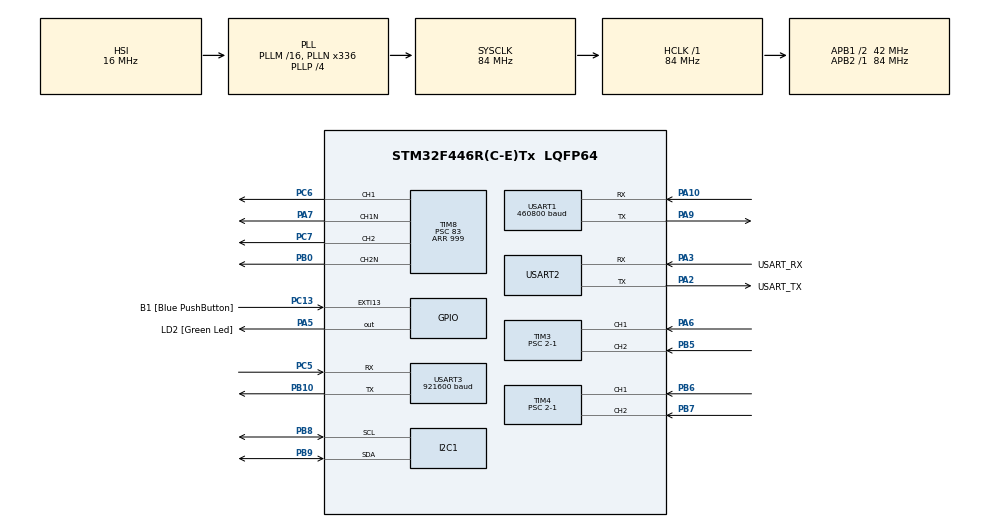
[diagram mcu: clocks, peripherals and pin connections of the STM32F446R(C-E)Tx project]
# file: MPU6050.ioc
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Dma.Request0=USART3_RX
Dma.Request1=USART3_TX
Dma.Request2=USART1_TX
Dma.Request3=USART1_RX
Dma.USART1_RX.3.Direction=DMA_PERIPH_TO_MEMORY
Dma.USART1_RX.3.FIFOMode=DMA_FIFOMODE_DISABLE
Dma.USART1_RX.3.Instance=DMA2_Stream2
Dma.USART1_RX.3.MemDataAlignment=DMA_MDATAALIGN_BYTE
Dma.USART1_RX.3.MemInc=DMA_MINC_ENABLE
Dma.USART1_RX.3.Mode=DMA_NORMAL
Dma.USART1_RX.3.PeriphDataAlignment=DMA_PDATAALIGN_BYTE
Dma.USART1_RX.3.PeriphInc=DMA_PINC_DISABLE
Dma.USART1_RX.3.Priority=DMA_PRIORITY_LOW
Dma.USART1_TX.2.Direction=DMA_MEMORY_TO_PERIPH
Dma.USART1_TX.2.FIFOMode=DMA_FIFOMODE_DISABLE
Dma.USART1_TX.2.Instance=DMA2_Stream7
Dma.USART1_TX.2.MemDataAlignment=DMA_MDATAALIGN_BYTE
Dma.USART1_TX.2.MemInc=DMA_MINC_ENABLE
Dma.USART1_TX.2.Mode=DMA_NORMAL
Dma.USART1_TX.2.PeriphDataAlignment=DMA_PDATAALIGN_BYTE
Dma.USART1_TX.2.PeriphInc=DMA_PINC_DISABLE
Dma.USART1_TX.2.Priority=DMA_PRIORITY_LOW
Dma.USART3_RX.0.Direction=DMA_PERIPH_TO_MEMORY
Dma.USART3_RX.0.FIFOMode=DMA_FIFOMODE_DISABLE
Dma.USART3_RX.0.Instance=DMA1_Stream1
Dma.USART3_RX.0.MemDataAlignment=DMA_MDATAALIGN_BYTE
Dma.USART3_RX.0.MemInc=DMA_MINC_ENABLE
Dma.USART3_RX.0.Mode=DMA_NORMAL
Dma.USART3_RX.0.PeriphDataAlignment=DMA_PDATAALIGN_BYTE
Dma.USART3_RX.0.PeriphInc=DMA_PINC_DISABLE
Dma.USART3_RX.0.Priority=DMA_PRIORITY_LOW
Dma.USART3_TX.1.Direction=DMA_MEMORY_TO_PERIPH
Dma.USART3_TX.1.FIFOMode=DMA_FIFOMODE_DISABLE
Dma.USART3_TX.1.Instance=DMA1_Stream3
Dma.USART3_TX.1.MemDataAlignment=DMA_MDATAALIGN_BYTE
Dma.USART3_TX.1.MemInc=DMA_MINC_ENABLE
Dma.USART3_TX.1.Mode=DMA_NORMAL
Dma.USART3_TX.1.PeriphDataAlignment=DMA_PDATAALIGN_BYTE
Dma.USART3_TX.1.PeriphInc=DMA_PINC_DISABLE
Dma.USART3_TX.1.Priority=DMA_PRIORITY_LOW
I2C1.I2C_Mode=I2C_Fast
Mcu.Family=STM32F4
Mcu.Name=STM32F446R(C-E)Tx
Mcu.Package=LQFP64
NVIC.DMA1_Stream1_IRQn=true\:0\:0\:false\:false\:true\:false\:true\:true
NVIC.DMA1_Stream3_IRQn=true\:0\:0\:false\:false\:true\:false\:true\:true
NVIC.DMA2_Stream2_IRQn=true\:0\:0\:false\:false\:true\:false\:true\:true
NVIC.DMA2_Stream7_IRQn=true\:0\:0\:false\:false\:true\:false\:true\:true
NVIC.PriorityGroup=NVIC_PRIORITYGROUP_0
NVIC.TIM6_DAC_IRQn=true\:0\:0\:false\:false\:true\:true\:true\:true
NVIC.USART1_IRQn=true\:0\:0\:false\:false\:true\:true\:true\:true
NVIC.USART3_IRQn=true\:0\:0\:false\:false\:true\:true\:true\:true
PA10.Mode=Asynchronous
PA10.Signal=USART1_RX
PA13.GPIO_Label=TMS
PA13.Mode=Serial_Wire
PA13.Signal=SYS_JTMS-SWDIO
PA14.GPIO_Label=TCK
PA14.Mode=Serial_Wire
PA14.Signal=SYS_JTCK-SWCLK
PA2.GPIO_Label=USART_TX
PA2.Mode=Asynchronous
PA2.Signal=USART2_TX
PA3.GPIO_Label=USART_RX
PA3.Mode=Asynchronous
PA3.Signal=USART2_RX
PA5.GPIO_Label=LD2 [Green Led]
PA5.Signal=GPIO_Output
PA6.Signal=S_TIM3_CH1
PA7.Mode=PWM Generation1 CH1 CH1N
PA7.Signal=TIM8_CH1N
PA9.Mode=Asynchronous
PA9.Signal=USART1_TX
PB0.Mode=PWM Generation2 CH2 CH2N
PB0.Signal=TIM8_CH2N
PB10.Mode=Asynchronous
PB10.Signal=USART3_TX
PB3.GPIO_Label=SWO
PB3.Signal=SYS_JTDO-SWO
PB5.Signal=S_TIM3_CH2
PB6.Signal=S_TIM4_CH1
PB7.Signal=S_TIM4_CH2
PB8.Mode=I2C
PB8.Signal=I2C1_SCL
PB9.Mode=I2C
PB9.Signal=I2C1_SDA
PC13.GPIO_Label=B1 [Blue PushButton]
PC13.GPIO_ModeDefaultEXTI=GPIO_MODE_IT_FALLING
PC13.Signal=GPXTI13
PC14-OSC32_IN.Mode=LSE-External-Oscillator
PC14-OSC32_IN.Signal=RCC_OSC32_IN
PC15-OSC32_OUT.Mode=LSE-External-Oscillator
PC15-OSC32_OUT.Signal=RCC_OSC32_OUT
PC5.Mode=Asynchronous
PC5.Signal=USART3_RX
PC6.Signal=S_TIM8_CH1
PC7.Signal=S_TIM8_CH2
PH0-OSC_IN.Mode=HSE-External-Oscillator
PH0-OSC_IN.Signal=RCC_OSC_IN
PH1-OSC_OUT.Mode=HSE-External-Oscillator
PH1-OSC_OUT.Signal=RCC_OSC_OUT
ProjectManager.HeapSize=0x200
ProjectManager.StackSize=0x400
ProjectManager.TargetToolchain=MDK-ARM V5.32
RCC.48MHZClocksFreq_Value=84000000
RCC.AHBFreq_Value=84000000
RCC.APB1CLKDivider=RCC_HCLK_DIV2
RCC.APB1Freq_Value=42000000
RCC.APB1TimFreq_Value=84000000
RCC.APB2Freq_Value=84000000
RCC.APB2TimFreq_Value=84000000
RCC.CortexFreq_Value=84000000
RCC.FLatency-AdvancedSettings=FLASH_LATENCY_2
RCC.HCLKFreq_Value=84000000
RCC.HSE_VALUE=8000000
RCC.HSI_VALUE=16000000
RCC.PLLN=336
RCC.PLLP=RCC_PLLP_DIV4
RCC.SYSCLKFreq_VALUE=84000000
RCC.SYSCLKSource=RCC_SYSCLKSOURCE_PLLCLK
RCC.USBFreq_Value=168000000
RCC.VCOOutputFreq_Value=336000000
SH.S_TIM3_CH1.0=TIM3_CH1,Encoder_Interface
SH.S_TIM3_CH2.0=TIM3_CH2,Encoder_Interface
SH.S_TIM4_CH1.0=TIM4_CH1,Encoder_Interface
SH.S_TIM4_CH2.0=TIM4_CH2,Encoder_Interface
SH.S_TIM8_CH1.0=TIM8_CH1,PWM Generation1 CH1 CH1N
SH.S_TIM8_CH2.0=TIM8_CH2,PWM Generation2 CH2 CH2N
TIM3.EncoderMode=TIM_ENCODERMODE_TI12
TIM3.IC1Filter=10
TIM3.Prescaler=2-1
TIM4.EncoderMode=TIM_ENCODERMODE_TI12
TIM4.IC1Filter=10
TIM4.IC2Filter=10
TIM4.Prescaler=2-1
TIM6.Period=9999
TIM6.Prescaler=41
TIM8.AutoReloadPreload=TIM_AUTORELOAD_PRELOAD_ENABLE
TIM8.Channel-PWM\ Generation1\ CH1\ CH1N=TIM_CHANNEL_1
TIM8.Channel-PWM\ Generation2\ CH2\ CH2N=TIM_CHANNEL_2
TIM8.OC1Preload_PWM=DISABLE
TIM8.OCFastMode_PWM-PWM\ Generation2\ CH2\ CH2N=TIM_OCFAST_ENABLE
TIM8.OCMode_PWM-PWM\ Generation1\ CH1\ CH1N=TIM_OCMODE_PWM2
TIM8.OCMode_PWM-PWM\ Generation2\ CH2\ CH2N=TIM_OCMODE_PWM2
TIM8.OCNPolarity_1=TIM_OCNPOLARITY_LOW
TIM8.OCNPolarity_2=TIM_OCNPOLARITY_LOW
TIM8.OCPolarity_1=TIM_OCPOLARITY_LOW
TIM8.OCPolarity_2=TIM_OCPOLARITY_LOW
TIM8.Period=999
TIM8.Prescaler=83
USART1.BaudRate=460800
USART1.VirtualMode=VM_ASYNC
USART2.VirtualMode=VM_ASYNC
USART3.BaudRate=921600
USART3.VirtualMode=VM_ASYNC
VP_TIM6_VS_ClockSourceINT.Mode=Enable_Timer
VP_TIM8_VS_ClockSourceINT.Mode=Internal
board=NUCLEO-F446RE

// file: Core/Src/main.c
/* USER CODE BEGIN Header */
/**
  ******************************************************************************
  * @file           : main.c
  * @brief          : Main program body
  ******************************************************************************
  * @attention
  *
  * Copyright (c) 2025 STMicroelectronics.
  * All rights reserved.
  *
  * This software is licensed under terms that can be found in the LICENSE file
  * in the root directory of this software component.
  * If no LICENSE file comes with this software, it is provided AS-IS.
  *
  ******************************************************************************
  */
/* USER CODE END Header */
#include "main.h"
#include "dma.h"
#include "i2c.h"
#include "tim.h"
#include "usart.h"
#include "gpio.h"

/* USER CODE BEGIN Includes */

#include "MPU6050.h"
#include "stdio.h"
#include "PeropheralInit.h"
#include "Motor.h"
#include "math.h"
#include "AutoCar.h"
#include "string.h"
#include "BT.h"

/* USER CODE END Includes */

/* USER CODE BEGIN PD */
int res;
float pitch;
float roll;
float yaw;
uint8_t timeflag;

MotorInfo motorDataRight;
MotorInfo motorDataLeft;
AutoCarInfo autoCar;
imuInfo imu;
float_to_hex yaw_F2H;
float_to_hex x_F2H;
float_to_hex y_F2H;
float btYawF2H;
float yawOdometry;
float distance_vector;
float btSpeedRight;
float btSpeedLeft;
float x_vector;
float y_vector;
uint8_t sdBuffer[16];

uint8_t receiveData[128];
uint8_t receiveDataDMAbuffer[128];
uint8_t sendDataDMA[128];
uint8_t laserRowData_frame[88];
uint8_t laserRowData_buffer[84];
uint8_t laserTxInitial[9];
int signDMA = 1;
int signLaser = 0;

extern DMA_HandleTypeDef hdma_usart3_rx;
extern DMA_HandleTypeDef hdma_usart3_tx;
extern DMA_HandleTypeDef hdma_usart1_rx;
extern DMA_HandleTypeDef hdma_usart1_tx;

/* USER CODE END PD */

void SystemClock_Config(void);

/* USER CODE BEGIN 0 */

//DMA发送中断响应函数

void HAL_UART_TxCpltCallback(UART_HandleTypeDef *huart)
{

	signDMA = 1;

}

double BT_yaw=0.0;
double BT_rmv=0.0;
double BT_lwv=0.0;

void HAL_UARTEx_RxEventCallback(UART_HandleTypeDef *huart, uint16_t Size){

	if(huart==&huart3){

		for(int i=0;i<sizeof(receiveData);i++){
			sendDataDMA[i]=receiveData[i];
		}

//		if(signDMA == 1){
//			signDMA = 0;
//			//回发接收内容9
//			HAL_UART_Transmit_DMA(&huart3,sendDataDMA,Size);
//		}

		//解析接收数据
		 sscanf((const char *)receiveData, "%lf %lf %lf", &BT_yaw, &BT_rmv, &BT_lwv);

		//清空接收缓冲区
		for(int i=0;i<sizeof(receiveData);i++){

			receiveData[i]=0x00;

		}

		//重新打开DMA接收
			HAL_UARTEx_ReceiveToIdle_DMA(&huart3,receiveData,sizeof(receiveData));
		//关闭DMA半中断响应
		__HAL_DMA_DISABLE_IT(&hdma_usart3_rx,DMA_IT_HT);

	}

		//串口1接收中断
	else if(huart==&huart1){

		//assign the laser frame
		for(int i=0;i<Size;i++){

		laserRowData_frame[i+4]=laserRowData_buffer[i];

		}

		signLaser = 1;

		//重新打开串口1DMA接收
		HAL_UARTEx_ReceiveToIdle_DMA(&huart1,laserRowData_buffer,sizeof(laserRowData_buffer));
		__HAL_UART_ENABLE_IT(&huart1, UART_IT_IDLE);  // 开启空闲中断
		__HAL_DMA_DISABLE_IT(&hdma_usart1_rx,DMA_IT_HT);

	}

}

/* USER CODE END 0 */

int main(void)
{

  /* MCU Configuration--------------------------------------------------------*/

  /* Reset of all peripherals, Initializes the Flash interface and the Systick. */
  HAL_Init();

  /* Configure the system clock */
  SystemClock_Config();

  /* Initialize all configured peripherals */
  MX_GPIO_Init();
  MX_DMA_Init();
  MX_USART2_UART_Init();
  MX_I2C1_Init();
  MX_USART1_UART_Init();
  MX_TIM8_Init();
  MX_TIM3_Init();
  MX_TIM6_Init();
  MX_TIM4_Init();
  MX_USART3_UART_Init();
  /* USER CODE BEGIN 2 */

	//Wait for the Electricity
	HAL_Delay(200);

	//显示初始化发送缓冲区，以防止有奇怪的内容（会影响DMA发送）

		for(int i=0;i<sizeof(sendDataDMA);i++){

			sendDataDMA[i]=0x00;

		}

		for(int i=0;i<sizeof(receiveData);i++){

			receiveData[i]=0x00;

		}

		for(int i=0;i<sizeof(laserRowData_frame);i++){

			laserRowData_frame[i]=0x00;

		}

		for(int i=0;i<sizeof(laserRowData_buffer);i++){

			laserRowData_buffer[i]=0x00;

		}

		laserRowData_frame[0]=0xFF;
		laserRowData_frame[1]=0xFF;
		laserRowData_frame[2]=0xFF;
		laserRowData_frame[3]=0x54;//负载长

		laserTxInitial[0] = 0xA5;  //帧头
		laserTxInitial[1] = 0x82;  //启动扫描命令
		laserTxInitial[2] = 05;
		laserTxInitial[3] = 0;
		laserTxInitial[4] = 0;
		laserTxInitial[5] = 0;
		laserTxInitial[6] = 0;
		laserTxInitial[7] = 0;
		laserTxInitial[8] = 0x22;

		HAL_UART_Transmit_DMA(&huart1,laserTxInitial,sizeof(laserTxInitial));
		__HAL_DMA_DISABLE_IT(&hdma_usart1_tx, DMA_IT_HT);

		HAL_UARTEx_ReceiveToIdle_DMA(&huart1,laserRowData_buffer,sizeof(laserRowData_buffer));
		__HAL_UART_ENABLE_IT(&huart1, UART_IT_IDLE);  // 开启空闲中断
		__HAL_DMA_DISABLE_IT(&hdma_usart1_rx,DMA_IT_HT);

	//打开DMA接收
		HAL_UARTEx_ReceiveToIdle_DMA(&huart3,receiveData,sizeof(receiveData));
	//关闭DMA接收半中断响应
	__HAL_DMA_DISABLE_IT(&hdma_usart3_rx,DMA_IT_HT);

	// Initial peripheral
	peripheral_Initial();

	HAL_Delay(5000);

	// Initial PID
	PID_Angle_init(&autoCar);
	PID_init(&motorDataRight);
	PID_init(&motorDataLeft);

  /* USER CODE END 2 */

  /* Infinite loop */
  /* USER CODE BEGIN WHILE */
  while (1)
  {

		if(signDMA==1){
			// do NOT comment this loop, it will assign the imu
			if (MPU6050_DMP_Get_Data(&pitch, &roll, &yaw))
			{
				imu.ipitch=pitch;
				imu.iyaw=yaw;
				imu.iroll=roll;

			}
		}

		if(signDMA == 1&&signLaser==1){
			signDMA = 0;
			signLaser = 0;
			//send laser frame 4B+5B*8
			HAL_UART_Transmit_DMA(&huart3,laserRowData_frame,sizeof(laserRowData_frame));
			__HAL_DMA_DISABLE_IT(&hdma_usart3_tx, DMA_IT_HT);

		}

		//every 50ms do this loop------TIM6
		if(timeflag > 4)
		{

			//setYawTarget(&autoCar,BT_yaw , BT_rmv ,BT_lwv);  // 小车对象，预设yaw角，右轮参考速度，左轮参考速度
			//PID_Angle_loop(&autoCar);

			setTargetSpeed_perMin(&motorDataRight,BT_rmv);
			PID_loop(&motorDataRight);
			setTargetSpeed_perMin(&motorDataLeft,BT_lwv);
			PID_loop(&motorDataLeft);

			// The assigned of the btSpeedRight and btSpeedLeft is in the function setYawCurrent

//			float avgTwoWheelSpeed =((float) btSpeedRight+(float)btSpeedLeft)/2.0f;
//
//			distance_vector = avgTwoWheelSpeed*50.0f*6.5f*3.1415926f /(60.0f*1000.0f*1.0f);
//
//			x_vector = x_vector + distance_vector * (-sin(yawOdometry));
//
//			y_vector = y_vector + distance_vector * cos(yawOdometry);

//			if(signDMA == 1){
//
//				// The assigned of the btYawF2H is in the function setYawCurrent
//				set_float_value(&yaw_F2H,btYawF2H);
//
//				sdBuffer[0]=0xFF; //帧头
//				sdBuffer[1]=0xFF; //帧头
//				sdBuffer[2]=0xFF;	//帧头
//				sdBuffer[3]=0x0C; //负载长
//				sdBuffer[4]=yaw_F2H.BT_float[0];
//				sdBuffer[5]=yaw_F2H.BT_float[1];
//				sdBuffer[6]=yaw_F2H.BT_float[2];
//				sdBuffer[7]=yaw_F2H.BT_float[3];
//
//
//
//				set_float_value(&x_F2H,x_vector);
//
//				set_float_value(&y_F2H,y_vector);
//
//				sdBuffer[8]=x_F2H.BT_float[0];
//				sdBuffer[9]=x_F2H.BT_float[1];
//				sdBuffer[10]=x_F2H.BT_float[2];
//				sdBuffer[11]=x_F2H.BT_float[3];
//
//				sdBuffer[12]=y_F2H.BT_float[0];
//				sdBuffer[13]=y_F2H.BT_float[1];
//				sdBuffer[14]=y_F2H.BT_float[2];
//				sdBuffer[15]=y_F2H.BT_float[3];
//
//

//
//				signDMA = 0;

//				HAL_UART_Transmit_DMA(&huart3, sdBuffer, 16);
//					//关闭DMA接收半中断响应
//				__HAL_DMA_DISABLE_IT(&hdma_usart3_tx,DMA_IT_HT);
//
//
//			}

			//EMERGENCY STOP

//			if(fabs(motorDataRight.motorSpeed)>250.0||fabs(motorDataLeft.motorSpeed)>250.0){

//
//						__HAL_TIM_SET_COMPARE(&htim8, TIM_CHANNEL_1, 500);
//						__HAL_TIM_SET_COMPARE(&htim8, TIM_CHANNEL_2, 500);
//
//				while(1){
//
//							if(signDMA == 1){
//								uint8_t sdBuffer[4];
//
//								for(int i=0;i<sizeof(sdBuffer);i++){
//
//									sdBuffer[i] = 0xFF;
//								}

//								signDMA = 0;

//								HAL_UART_Transmit_DMA(&huart3, sdBuffer, sizeof(sdBuffer));
//						}
//
//				}

//			}

		  timeflag = 0x00;

		}

    /* USER CODE END WHILE */

  }
}

void SystemClock_Config(void)
{
  RCC_OscInitTypeDef RCC_OscInitStruct = {0};
  RCC_ClkInitTypeDef RCC_ClkInitStruct = {0};

  /** Configure the main internal regulator output voltage
  */
  __HAL_RCC_PWR_CLK_ENABLE();
  __HAL_PWR_VOLTAGESCALING_CONFIG(PWR_REGULATOR_VOLTAGE_SCALE3);

  /** Initializes the RCC Oscillators according to the specified parameters
  * in the RCC_OscInitTypeDef structure.
  */
  RCC_OscInitStruct.OscillatorType = RCC_OSCILLATORTYPE_HSI;
  RCC_OscInitStruct.HSIState = RCC_HSI_ON;
  RCC_OscInitStruct.HSICalibrationValue = RCC_HSICALIBRATION_DEFAULT;
  RCC_OscInitStruct.PLL.PLLState = RCC_PLL_ON;
  RCC_OscInitStruct.PLL.PLLSource = RCC_PLLSOURCE_HSI;
  RCC_OscInitStruct.PLL.PLLM = 16;
  RCC_OscInitStruct.PLL.PLLN = 336;
  RCC_OscInitStruct.PLL.PLLP = RCC_PLLP_DIV4;
  RCC_OscInitStruct.PLL.PLLQ = 2;
  RCC_OscInitStruct.PLL.PLLR = 2;
  if (HAL_RCC_OscConfig(&RCC_OscInitStruct) != HAL_OK)
  {
    Error_Handler();
  }

  /** Initializes the CPU, AHB and APB buses clocks
  */
  RCC_ClkInitStruct.ClockType = RCC_CLOCKTYPE_HCLK|RCC_CLOCKTYPE_SYSCLK
                              |RCC_CLOCKTYPE_PCLK1|RCC_CLOCKTYPE_PCLK2;
  RCC_ClkInitStruct.SYSCLKSource = RCC_SYSCLKSOURCE_PLLCLK;
  RCC_ClkInitStruct.AHBCLKDivider = RCC_SYSCLK_DIV1;
  RCC_ClkInitStruct.APB1CLKDivider = RCC_HCLK_DIV2;
  RCC_ClkInitStruct.APB2CLKDivider = RCC_HCLK_DIV1;

  if (HAL_RCC_ClockConfig(&RCC_ClkInitStruct, FLASH_LATENCY_2) != HAL_OK)
  {
    Error_Handler();
  }
}

/* USER CODE BEGIN 4 */

int fputc(int ch,FILE *f){

	HAL_UART_Transmit(&huart2,(uint8_t *)&ch,1,1000);

	return ch;

}

//���ڱ������
void HAL_TIM_PeriodElapsedCallback(TIM_HandleTypeDef *htim)
{
   if (htim == (&htim6))
	 {
	   __HAL_TIM_CLEAR_FLAG(&htim6,TIM_FLAG_UPDATE);

		timeflag++;

	 }
 }

/* USER CODE END 4 */

void Error_Handler(void)
{
  __disable_irq();
  while (1)
  {
  }
}
